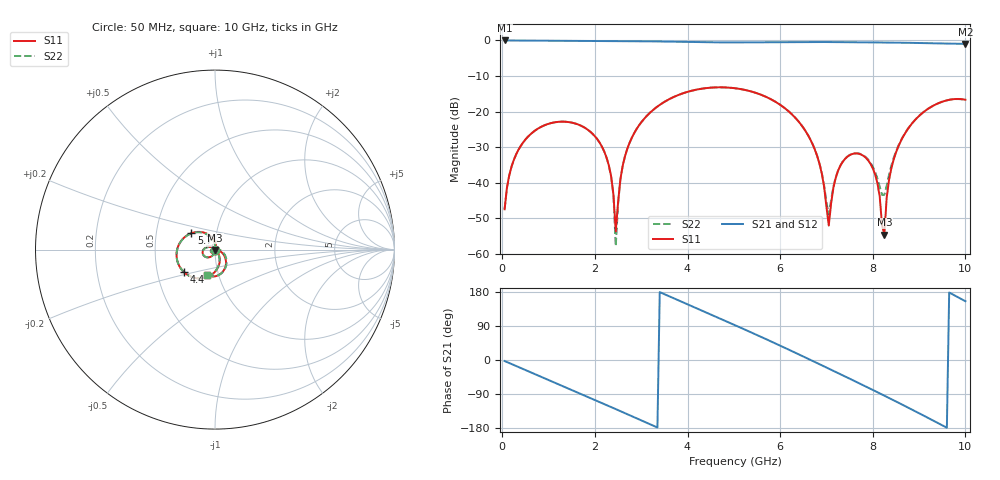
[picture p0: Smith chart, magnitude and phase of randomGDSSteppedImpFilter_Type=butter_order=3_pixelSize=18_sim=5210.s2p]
! freq	dB(S11)	phase(S11)	dB(S12)	phase(S12)
!  dB(S21)	phase(S21)	dB(S22)	phase(S22)
!S-par simulation data
#  GHz  S  DB  R 50
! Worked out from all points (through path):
!   200 points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, 50 MHz to 10 GHz, reference 50 ohm
!   highest |S21| = 0.00 dB at 50 MHz (marker M1); lowest = -1.0 dB at 10 GHz (marker M2)
!   group delay of S21, straight-line fit = 155 ps
!   lowest |S11| = -54.6 dB at 8.25 GHz (marker M3), VSWR 1.00, Z = 50.1 - j0.137 ohm
!   |S11| at or under -10 dB: start of sweep to end of sweep
!   |S22| runs from -57.8 to -13.2 dB; largest |S21 - S12| = 0
!   S11 on the Smith chart (normalised r, x): 50 MHz: 1.00, -0.01; 4.4 GHz: 0.69, -0.18; 5.7 GHz: 0.76, +0.14; 10 GHz: 0.89, -0.25
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0.05  -47.46 -91.5  -0.00 -2.7  -0.00 -2.7  -47.46 -91.5
0.2  -35.46 -100.0  -0.02 -10.7  -0.02 -10.7  -35.46 -100.0
0.55  -27.12 -119.1  -0.04 -29.1  -0.04 -29.1  -27.12 -118.9
1.75  -24.31 175.9  -0.12 -92.3  -0.12 -92.3  -24.31 176.7
2.3  -35.10 142.6  -0.14 -121.5  -0.14 -121.5  -35.13 146.5
2.4  -43.30 128.1  -0.15 -126.9  -0.15 -126.9  -43.54 138.9
2.45  -53.68 77.6  -0.15 -129.6  -0.15 -129.6  -57.84 108.6
2.55  -39.02 -36.6  -0.16 -134.9  -0.16 -134.9  -39.13 -43.4
2.7  -30.43 -50.2  -0.18 -143.0  -0.18 -143.0  -30.44 -52.8
3.4  -18.11 -90.4  -0.30 179.1  -0.30 179.1  -18.11 -91.0
4.4  -13.40 -144.1  -0.51 125.4  -0.51 125.4  -13.40 -144.2
5.05  -13.48 -178.9  -0.55 90.5  -0.55 90.5  -13.48 -178.7
5.7  -15.89 145.4  -0.49 54.8  -0.49 54.8  -15.89 146.2
6.7  -29.16 85.2  -0.43 -2.4  -0.43 -2.4  -29.12 93.6
7.05  -52.06 -32.3  -0.45 -22.8  -0.45 -22.8  -48.97 163.8
7.25  -36.66 -113.8  -0.47 -34.5  -0.47 -34.5  -36.56 -138.4
7.7  -31.86 -145.3  -0.52 -61.1  -0.52 -61.1  -31.77 -160.5
8.05  -37.66 -166.0  -0.56 -82.0  -0.56 -82.0  -36.96 165.5
8.25  -54.61 -47.2  -0.58 -94.1  -0.58 -94.1  -43.39 72.9
8.35  -39.31 -7.3  -0.59 -100.2  -0.59 -100.2  -37.86 23.4
8.95  -21.86 -42.6  -0.70 -137.3  -0.70 -137.3  -21.83 -39.2
10  -16.67 -106.6  -0.97 155.1  -0.97 155.1  -16.71 -107.2
